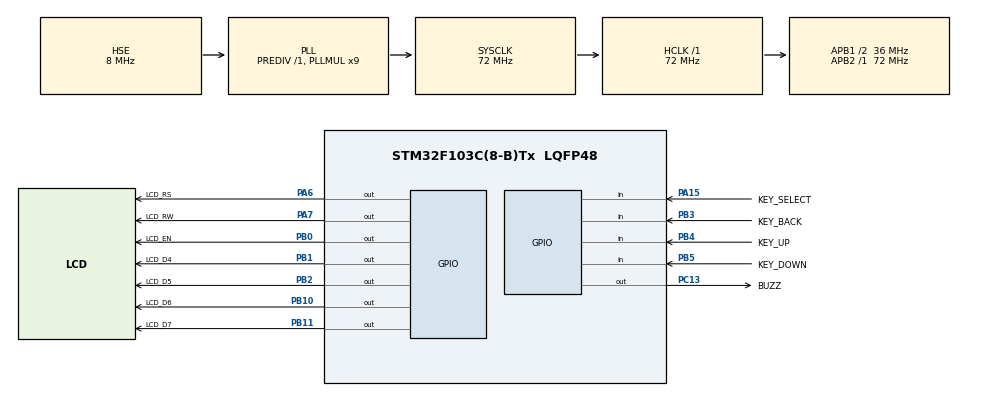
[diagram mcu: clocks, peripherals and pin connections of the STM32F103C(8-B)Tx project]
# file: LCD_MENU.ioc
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FREERTOS.Tasks01=defaultTask,0,256,StartDefaultTask,Default,NULL,Dynamic,NULL,NULL;myTask_GUI,-3,256,StartTask02,Default,NULL,Dynamic,NULL,NULL
FREERTOS.configTOTAL_HEAP_SIZE=8192
Mcu.Family=STM32F1
Mcu.Name=STM32F103C(8-B)Tx
Mcu.Package=LQFP48
NVIC.PriorityGroup=NVIC_PRIORITYGROUP_4
NVIC.TIM4_IRQn=true\:0\:0\:false\:false\:true\:false\:false\:true
NVIC.TimeBase=TIM4_IRQn
NVIC.TimeBaseIP=TIM4
PA13.Mode=Serial_Wire
PA13.Signal=SYS_JTMS-SWDIO
PA14.Mode=Serial_Wire
PA14.Signal=SYS_JTCK-SWCLK
PA15.GPIO_Label=KEY_SELECT
PA15.GPIO_PuPd=GPIO_PULLUP
PA15.Signal=GPIO_Input
PA6.GPIO_Label=LCD_RS
PA6.Signal=GPIO_Output
PA7.GPIO_Label=LCD_RW
PA7.Signal=GPIO_Output
PB0.GPIO_Label=LCD_EN
PB0.Signal=GPIO_Output
PB1.GPIO_Label=LCD_D4
PB1.Signal=GPIO_Output
PB10.GPIO_Label=LCD_D6
PB10.Signal=GPIO_Output
PB11.GPIO_Label=LCD_D7
PB11.Signal=GPIO_Output
PB2.GPIO_Label=LCD_D5
PB2.Signal=GPIO_Output
PB3.GPIO_Label=KEY_BACK
PB3.GPIO_PuPd=GPIO_PULLUP
PB3.Signal=GPIO_Input
PB4.GPIO_Label=KEY_UP
PB4.GPIO_PuPd=GPIO_PULLUP
PB4.Signal=GPIO_Input
PB5.GPIO_Label=KEY_DOWN
PB5.GPIO_PuPd=GPIO_PULLUP
PB5.Signal=GPIO_Input
PC13-TAMPER-RTC.GPIO_Label=BUZZ
PC13-TAMPER-RTC.Signal=GPIO_Output
PD0-OSC_IN.Mode=HSE-External-Oscillator
PD0-OSC_IN.Signal=RCC_OSC_IN
PD1-OSC_OUT.Mode=HSE-External-Oscillator
PD1-OSC_OUT.Signal=RCC_OSC_OUT
ProjectManager.HeapSize=0x400
ProjectManager.StackSize=0x400
ProjectManager.TargetToolchain=MDK-ARM V5
RCC.AHBFreq_Value=72000000
RCC.APB1CLKDivider=RCC_HCLK_DIV2
RCC.APB1Freq_Value=36000000
RCC.APB1TimFreq_Value=72000000
RCC.APB2Freq_Value=72000000
RCC.APB2TimFreq_Value=72000000
RCC.HCLKFreq_Value=72000000
RCC.PLLMUL=RCC_PLL_MUL9
RCC.PLLSourceVirtual=RCC_PLLSOURCE_HSE
RCC.SYSCLKFreq_VALUE=72000000
RCC.SYSCLKSource=RCC_SYSCLKSOURCE_PLLCLK
RCC.USBFreq_Value=72000000
VP_FREERTOS_VS_CMSIS_V1.Mode=CMSIS_V1
VP_SYS_VS_tim4.Mode=TIM4
board=custom

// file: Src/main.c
/* USER CODE BEGIN Header */
/**
  ******************************************************************************
  * @file           : main.c
  * @brief          : Main program body
  ******************************************************************************
  * @attention
  *
  * <h2><center>&copy; Copyright (c) 2019 STMicroelectronics.
  * All rights reserved.</center></h2>
  *
  * This software component is licensed by ST under Ultimate Liberty license
  * SLA0044, the "License"; You may not use this file except in compliance with
  * the License. You may obtain a copy of the License at:
  *                             www.st.com/SLA0044
  *
  ******************************************************************************
  */
/* USER CODE END Header */

#include "main.h"
#include "cmsis_os.h"
#include "gpio.h"

void SystemClock_Config(void);
void MX_FREERTOS_Init(void);

int main(void)
{

  /* MCU Configuration--------------------------------------------------------*/

  /* Reset of all peripherals, Initializes the Flash interface and the Systick. */
  HAL_Init();

  /* Configure the system clock */
  SystemClock_Config();

  /* Initialize all configured peripherals */
  MX_GPIO_Init();

  /* Call init function for freertos objects (in freertos.c) */
  MX_FREERTOS_Init();

  /* Start scheduler */
  osKernelStart();

  /* We should never get here as control is now taken by the scheduler */

  /* Infinite loop */
  while (1)
  {

  }
}

void SystemClock_Config(void)
{
  RCC_OscInitTypeDef RCC_OscInitStruct = {0};
  RCC_ClkInitTypeDef RCC_ClkInitStruct = {0};

  /** Initializes the CPU, AHB and APB busses clocks
  */
  RCC_OscInitStruct.OscillatorType = RCC_OSCILLATORTYPE_HSE;
  RCC_OscInitStruct.HSEState = RCC_HSE_ON;
  RCC_OscInitStruct.HSEPredivValue = RCC_HSE_PREDIV_DIV1;
  RCC_OscInitStruct.HSIState = RCC_HSI_ON;
  RCC_OscInitStruct.PLL.PLLState = RCC_PLL_ON;
  RCC_OscInitStruct.PLL.PLLSource = RCC_PLLSOURCE_HSE;
  RCC_OscInitStruct.PLL.PLLMUL = RCC_PLL_MUL9;
  if (HAL_RCC_OscConfig(&RCC_OscInitStruct) != HAL_OK)
  {
    Error_Handler();
  }
  /** Initializes the CPU, AHB and APB busses clocks
  */
  RCC_ClkInitStruct.ClockType = RCC_CLOCKTYPE_HCLK|RCC_CLOCKTYPE_SYSCLK
                              |RCC_CLOCKTYPE_PCLK1|RCC_CLOCKTYPE_PCLK2;
  RCC_ClkInitStruct.SYSCLKSource = RCC_SYSCLKSOURCE_PLLCLK;
  RCC_ClkInitStruct.AHBCLKDivider = RCC_SYSCLK_DIV1;
  RCC_ClkInitStruct.APB1CLKDivider = RCC_HCLK_DIV2;
  RCC_ClkInitStruct.APB2CLKDivider = RCC_HCLK_DIV1;

  if (HAL_RCC_ClockConfig(&RCC_ClkInitStruct, FLASH_LATENCY_2) != HAL_OK)
  {
    Error_Handler();
  }
}

void HAL_TIM_PeriodElapsedCallback(TIM_HandleTypeDef *htim)
{
  if (htim->Instance == TIM4) {
    HAL_IncTick();
  }
}

void Error_Handler(void)
{
}

/************************ (C) COPYRIGHT STMicroelectronics *****END OF FILE****/

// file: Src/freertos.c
/* USER CODE BEGIN Header */
/**
  ******************************************************************************
  * File Name          : freertos.c
  * Description        : Code for freertos applications
  ******************************************************************************
  * @attention
  *
  * <h2><center>&copy; Copyright (c) 2019 STMicroelectronics.
  * All rights reserved.</center></h2>
  *
  * This software component is licensed by ST under Ultimate Liberty license
  * SLA0044, the "License"; You may not use this file except in compliance with
  * the License. You may obtain a copy of the License at:
  *                             www.st.com/SLA0044
  *
  ******************************************************************************
  */
/* USER CODE END Header */

#include "FreeRTOS.h"
#include "task.h"
#include "main.h"
#include "cmsis_os.h"

/* USER CODE BEGIN Includes */
#include "LCD.h"
#include "Menu.h"
/* USER CODE END Includes */

/* USER CODE BEGIN PTD */

int32_t   Temp=10;
int32_t   Humid=50;

void  SelectMenuCallBack(Menu_Key_t Menu_key);
void  AdjustTempCallBack(Menu_Key_t Menu_key);
void  AdjustHumidCallBack(Menu_Key_t Menu_key);

void  AdjustTempCallBack(Menu_Key_t Menu_key)
{
  if(Menu_key==Menu_Key_Select)
  {
    Temp = Menu_AdjustValueGetInt32();
    Menu_ScrollingVerticalCreate(SelectMenuCallBack,2,"Temp","Humid");
  }
  else if(Menu_key==Menu_Key_Back)
  {
    Menu_ScrollingVerticalCreate(SelectMenuCallBack,2,"Temp","Humid");
  }
}

void  AdjustHumidCallBack(Menu_Key_t Menu_key)
{
  if(Menu_key==Menu_Key_Select)
  {
    Humid = Menu_AdjustValueGetInt32();
    Menu_ScrollingVerticalCreate(SelectMenuCallBack,2,"Temp","Humid");
  }
  else if(Menu_key==Menu_Key_Back)
  {
    Menu_ScrollingVerticalCreate(SelectMenuCallBack,2,"Temp","Humid");
  }
}

void  SelectMenuCallBack(Menu_Key_t Menu_key)
{
  if(Menu_key==Menu_Key_Select)
  {
    if(Menu_ScrollingVerticalGetSelected()==0)
    {
      Menu_AdjustValueCreateInt32(AdjustTempCallBack,"Temp","Set: ",Temp,-20,50,1);
    }
    if(Menu_ScrollingVerticalGetSelected()==1)
    {
      Menu_AdjustValueCreateInt32(AdjustHumidCallBack,"Humid","Set: ",Humid,0,100,1);
    }
  }
}
/* USER CODE END PTD */

osThreadId defaultTaskHandle;
osThreadId myTask_GUIHandle;

void StartDefaultTask(void const * argument);
void StartTask02(void const * argument);

void MX_FREERTOS_Init(void); /* (MISRA C 2004 rule 8.1) */

void MX_FREERTOS_Init(void) {

  /* Create the thread(s) */
  /* definition and creation of defaultTask */
  osThreadDef(defaultTask, StartDefaultTask, osPriorityNormal, 0, 256);
  defaultTaskHandle = osThreadCreate(osThread(defaultTask), NULL);

  /* definition and creation of myTask_GUI */
  osThreadDef(myTask_GUI, StartTask02, osPriorityIdle, 0, 256);
  myTask_GUIHandle = osThreadCreate(osThread(myTask_GUI), NULL);

}

void StartDefaultTask(void const * argument)
{

  /* USER CODE BEGIN StartDefaultTask */
  /* Infinite loop */
  LCD_Init();
  Menu_Init();
  Menu_StaticTextCreate(NULL,"www.github.com\r\n/nimaltd");
  osDelay(2000);
  Menu_ScrollingVerticalCreate(SelectMenuCallBack,2,"Temp","Humid");
  for(;;)
  {
    osDelay(1);
  }
  /* USER CODE END StartDefaultTask */
}

void StartTask02(void const * argument)
{
  /* USER CODE BEGIN StartTask02 */
  /* Infinite loop */
  for(;;)
  {
    Menu_Loop();
    osDelay(1);
  }
  /* USER CODE END StartTask02 */
}

/************************ (C) COPYRIGHT STMicroelectronics *****END OF FILE****/
